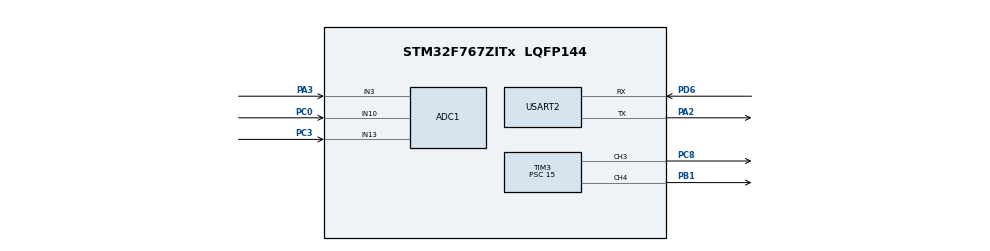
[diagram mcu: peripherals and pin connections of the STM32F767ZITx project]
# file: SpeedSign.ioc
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ADC1.Channel-0\#ChannelRegularConversion=ADC_CHANNEL_10
ADC1.Channel-1\#ChannelRegularConversion=ADC_CHANNEL_3
ADC1.Channel-2\#ChannelRegularConversion=ADC_CHANNEL_3
ADC1.ClockPrescaler=ADC_CLOCK_SYNC_PCLK_DIV8
ADC1.ContinuousConvMode=DISABLE
ADC1.DMAContinuousRequests=ENABLE
ADC1.DiscontinuousConvMode=ENABLE
ADC1.ExternalTrigConv=ADC_EXTERNALTRIGCONV_T8_TRGO
ADC1.NbrOfConversion=3
ADC1.NbrOfConversionFlag=1
ADC1.Rank-0\#ChannelRegularConversion=1
ADC1.Rank-1\#ChannelRegularConversion=2
ADC1.Rank-2\#ChannelRegularConversion=3
ADC1.SamplingTime-0\#ChannelRegularConversion=ADC_SAMPLETIME_3CYCLES
ADC1.SamplingTime-1\#ChannelRegularConversion=ADC_SAMPLETIME_3CYCLES
ADC1.SamplingTime-2\#ChannelRegularConversion=ADC_SAMPLETIME_3CYCLES
ADC1.ScanConvMode=ADC_SCAN_ENABLE
ADC1.master=1
CORTEX_M7.default_mode_Activation=1
Dma.ADC1.0.Direction=DMA_PERIPH_TO_MEMORY
Dma.ADC1.0.FIFOMode=DMA_FIFOMODE_DISABLE
Dma.ADC1.0.Instance=DMA2_Stream0
Dma.ADC1.0.MemDataAlignment=DMA_MDATAALIGN_HALFWORD
Dma.ADC1.0.MemInc=DMA_MINC_ENABLE
Dma.ADC1.0.Mode=DMA_CIRCULAR
Dma.ADC1.0.PeriphDataAlignment=DMA_PDATAALIGN_HALFWORD
Dma.ADC1.0.PeriphInc=DMA_PINC_DISABLE
Dma.ADC1.0.Priority=DMA_PRIORITY_LOW
Dma.Request0=ADC1
Mcu.Family=STM32F7
Mcu.Name=STM32F767ZITx
Mcu.Package=LQFP144
NVIC.DMA2_Stream0_IRQn=true\:0\:0\:false\:false\:true\:false\:true\:true
NVIC.PriorityGroup=NVIC_PRIORITYGROUP_4
NVIC.TIM3_IRQn=true\:0\:0\:false\:false\:true\:true\:true\:true
PA2.Mode=Asynchronous
PA2.Signal=USART2_TX
PA3.Signal=ADCx_IN3
PB1.Signal=S_TIM3_CH4
PC0.Signal=ADCx_IN10
PC3.Signal=ADCx_IN13
PC8.Signal=S_TIM3_CH3
PD6.Mode=Asynchronous
PD6.Signal=USART2_RX
ProjectManager.HeapSize=0x200
ProjectManager.StackSize=0x400
ProjectManager.TargetToolchain=STM32CubeIDE
RCC.HSE_VALUE=25000000
RCC.HSI_VALUE=16000000
RCC.LSE_VALUE=32768
RCC.USBFreq_Value=96000000
RCC.VCOOutputFreq_Value=192000000
SH.ADCx_IN10.0=ADC1_IN10,IN10
SH.ADCx_IN13.0=ADC1_IN13,IN13
SH.ADCx_IN3.0=ADC1_IN3,IN3
SH.S_TIM3_CH3.0=TIM3_CH3,PWM Generation3 CH3
SH.S_TIM3_CH4.0=TIM3_CH4,PWM Generation4 CH4
TIM3.AutoReloadPreload=TIM_AUTORELOAD_PRELOAD_ENABLE
TIM3.Channel-PWM\ Generation3\ CH3=TIM_CHANNEL_3
TIM3.Channel-PWM\ Generation4\ CH4=TIM_CHANNEL_4
TIM3.ClockDivision=TIM_CLOCKDIVISION_DIV1
TIM3.Period=19999
TIM3.Prescaler=15
TIM3.Pulse-PWM\ Generation3\ CH3=1400
TIM3.Pulse-PWM\ Generation4\ CH4=1400
TIM8.Period=15999
TIM8.TIM_MasterOutputTrigger=TIM_TRGO_UPDATE
USART2.VirtualMode-Asynchronous=VM_ASYNC
VP_TIM3_VS_ClockSourceINT.Mode=Internal
VP_TIM8_VS_ClockSourceINT.Mode=Internal
board=custom

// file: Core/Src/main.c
/* USER CODE BEGIN Header */
/**
  ******************************************************************************
  * @file           : main.c
  * @brief          : Main program body
  ******************************************************************************
  * @attention
  *
  * Copyright (c) 2024 STMicroelectronics.
  * All rights reserved.
  *
  * This software is licensed under terms that can be found in the LICENSE file
  * in the root directory of this software component.
  * If no LICENSE file comes with this software, it is provided AS-IS.
  *
  ******************************************************************************
  */
/* USER CODE END Header */
#include "main.h"

/* USER CODE BEGIN PD */
#define NUM_SENSORS 3
#define NUM_DISPLAYS 1
#define BASE_SPEED 9
/* USER CODE END PD */

ADC_HandleTypeDef hadc1;
DMA_HandleTypeDef hdma_adc1;

TIM_HandleTypeDef htim3;
TIM_HandleTypeDef htim8;

UART_HandleTypeDef huart2;

/* USER CODE BEGIN PV */
const uint32_t DISPLAY_STATES[10] = {1400, 1200, 1000, 800, 600, 2400, 2200, 2000, 1800, 1600};

volatile uint16_t sensorData[NUM_SENSORS];
uint32_t speedLimit = BASE_SPEED;

volatile uint8_t sensorDataReady = 0;
/* USER CODE END PV */

void SystemClock_Config(void);
static void MPU_Config(void);
static void MX_GPIO_Init(void);
static void MX_DMA_Init(void);
static void MX_ADC1_Init(void);
static void MX_USART2_UART_Init(void);
static void MX_TIM3_Init(void);
static void MX_TIM8_Init(void);
/* USER CODE BEGIN PFP */
void HAL_ADC_ConvCpltCallback(ADC_HandleTypeDef* hadc);
void HAL_TIM_PWM_PulseFinishedCallback(TIM_HandleTypeDef *htim);
/* USER CODE END PFP */

/* USER CODE BEGIN 0 */
void HAL_ADC_ConvCpltCallback(ADC_HandleTypeDef* hadc) {
	sensorDataReady = 1;
}

void HAL_TIM_PWM_PulseFinishedCallback(TIM_HandleTypeDef *htim) {
	uint32_t speedLimitCopy = speedLimit;
	if(htim->Channel == HAL_TIM_ACTIVE_CHANNEL_3) {
		TIM3->CCR3 = DISPLAY_STATES[speedLimitCopy % 10];
	}
	speedLimitCopy /= 10;
	if(htim->Channel == HAL_TIM_ACTIVE_CHANNEL_4) {
		TIM3->CCR4 = DISPLAY_STATES[speedLimitCopy % 10];
	}
}
/* USER CODE END 0 */

int main(void)
{

  /* MPU Configuration--------------------------------------------------------*/
  MPU_Config();

  /* MCU Configuration--------------------------------------------------------*/

  /* Reset of all peripherals, Initializes the Flash interface and the Systick. */
  HAL_Init();

  /* Configure the system clock */
  SystemClock_Config();

  /* Initialize all configured peripherals */
  MX_GPIO_Init();
  MX_DMA_Init();
  MX_ADC1_Init();
  MX_USART2_UART_Init();
  MX_TIM3_Init();
  MX_TIM8_Init();
  /* USER CODE BEGIN 2 */

  //start timer1

  HAL_TIM_PWM_Start_IT(&htim3, TIM_CHANNEL_3);
  HAL_TIM_PWM_Start_IT(&htim3, TIM_CHANNEL_4);

  HAL_TIM_Base_Start(&htim8);

  HAL_ADC_Start_DMA(&hadc1, (uint32_t*)sensorData, NUM_SENSORS);
  /* USER CODE END 2 */

  /* Infinite loop */
  while (1)
  {

    /* USER CODE BEGIN 3 */
	if(sensorDataReady) {
		uint32_t sum = 0;
		for(uint32_t i = 0; i < NUM_SENSORS; ++i)
			sum += sensorData[i];
		speedLimit = BASE_SPEED - ((float)sum / 1000.0);
		sensorDataReady = 0;
	}
  }
  /* USER CODE END 3 */
}

void SystemClock_Config(void)
{
  RCC_OscInitTypeDef RCC_OscInitStruct = {0};
  RCC_ClkInitTypeDef RCC_ClkInitStruct = {0};

  /** Configure the main internal regulator output voltage
  */
  __HAL_RCC_PWR_CLK_ENABLE();
  __HAL_PWR_VOLTAGESCALING_CONFIG(PWR_REGULATOR_VOLTAGE_SCALE3);

  /** Initializes the RCC Oscillators according to the specified parameters
  * in the RCC_OscInitTypeDef structure.
  */
  RCC_OscInitStruct.OscillatorType = RCC_OSCILLATORTYPE_HSI;
  RCC_OscInitStruct.HSIState = RCC_HSI_ON;
  RCC_OscInitStruct.HSICalibrationValue = RCC_HSICALIBRATION_DEFAULT;
  RCC_OscInitStruct.PLL.PLLState = RCC_PLL_NONE;
  if (HAL_RCC_OscConfig(&RCC_OscInitStruct) != HAL_OK)
  {
    Error_Handler();
  }

  /** Initializes the CPU, AHB and APB buses clocks
  */
  RCC_ClkInitStruct.ClockType = RCC_CLOCKTYPE_HCLK|RCC_CLOCKTYPE_SYSCLK
                              |RCC_CLOCKTYPE_PCLK1|RCC_CLOCKTYPE_PCLK2;
  RCC_ClkInitStruct.SYSCLKSource = RCC_SYSCLKSOURCE_HSI;
  RCC_ClkInitStruct.AHBCLKDivider = RCC_SYSCLK_DIV1;
  RCC_ClkInitStruct.APB1CLKDivider = RCC_HCLK_DIV1;
  RCC_ClkInitStruct.APB2CLKDivider = RCC_HCLK_DIV1;

  if (HAL_RCC_ClockConfig(&RCC_ClkInitStruct, FLASH_LATENCY_0) != HAL_OK)
  {
    Error_Handler();
  }
}

static void MX_ADC1_Init(void)
{

  ADC_ChannelConfTypeDef sConfig = {0};

  /** Configure the global features of the ADC (Clock, Resolution, Data Alignment and number of conversion)
  */
  hadc1.Instance = ADC1;
  hadc1.Init.ClockPrescaler = ADC_CLOCK_SYNC_PCLK_DIV8;
  hadc1.Init.Resolution = ADC_RESOLUTION_12B;
  hadc1.Init.ScanConvMode = ADC_SCAN_ENABLE;
  hadc1.Init.ContinuousConvMode = DISABLE;
  hadc1.Init.DiscontinuousConvMode = ENABLE;
  hadc1.Init.NbrOfDiscConversion = 1;
  hadc1.Init.ExternalTrigConvEdge = ADC_EXTERNALTRIGCONVEDGE_RISING;
  hadc1.Init.ExternalTrigConv = ADC_EXTERNALTRIGCONV_T8_TRGO;
  hadc1.Init.DataAlign = ADC_DATAALIGN_RIGHT;
  hadc1.Init.NbrOfConversion = 3;
  hadc1.Init.DMAContinuousRequests = ENABLE;
  hadc1.Init.EOCSelection = ADC_EOC_SINGLE_CONV;
  if (HAL_ADC_Init(&hadc1) != HAL_OK)
  {
    Error_Handler();
  }

  /** Configure for the selected ADC regular channel its corresponding rank in the sequencer and its sample time.
  */
  sConfig.Channel = ADC_CHANNEL_10;
  sConfig.Rank = ADC_REGULAR_RANK_1;
  sConfig.SamplingTime = ADC_SAMPLETIME_3CYCLES;
  if (HAL_ADC_ConfigChannel(&hadc1, &sConfig) != HAL_OK)
  {
    Error_Handler();
  }

  /** Configure for the selected ADC regular channel its corresponding rank in the sequencer and its sample time.
  */
  sConfig.Channel = ADC_CHANNEL_3;
  sConfig.Rank = ADC_REGULAR_RANK_2;
  if (HAL_ADC_ConfigChannel(&hadc1, &sConfig) != HAL_OK)
  {
    Error_Handler();
  }

  /** Configure for the selected ADC regular channel its corresponding rank in the sequencer and its sample time.
  */
  sConfig.Rank = ADC_REGULAR_RANK_3;
  if (HAL_ADC_ConfigChannel(&hadc1, &sConfig) != HAL_OK)
  {
    Error_Handler();
  }

}

static void MX_TIM3_Init(void)
{

  TIM_ClockConfigTypeDef sClockSourceConfig = {0};
  TIM_MasterConfigTypeDef sMasterConfig = {0};
  TIM_OC_InitTypeDef sConfigOC = {0};

  htim3.Instance = TIM3;
  htim3.Init.Prescaler = 15;
  htim3.Init.CounterMode = TIM_COUNTERMODE_UP;
  htim3.Init.Period = 19999;
  htim3.Init.ClockDivision = TIM_CLOCKDIVISION_DIV1;
  htim3.Init.AutoReloadPreload = TIM_AUTORELOAD_PRELOAD_ENABLE;
  if (HAL_TIM_Base_Init(&htim3) != HAL_OK)
  {
    Error_Handler();
  }
  sClockSourceConfig.ClockSource = TIM_CLOCKSOURCE_INTERNAL;
  if (HAL_TIM_ConfigClockSource(&htim3, &sClockSourceConfig) != HAL_OK)
  {
    Error_Handler();
  }
  if (HAL_TIM_PWM_Init(&htim3) != HAL_OK)
  {
    Error_Handler();
  }
  sMasterConfig.MasterOutputTrigger = TIM_TRGO_RESET;
  sMasterConfig.MasterSlaveMode = TIM_MASTERSLAVEMODE_DISABLE;
  if (HAL_TIMEx_MasterConfigSynchronization(&htim3, &sMasterConfig) != HAL_OK)
  {
    Error_Handler();
  }
  sConfigOC.OCMode = TIM_OCMODE_PWM1;
  sConfigOC.Pulse = 1400;
  sConfigOC.OCPolarity = TIM_OCPOLARITY_HIGH;
  sConfigOC.OCFastMode = TIM_OCFAST_DISABLE;
  if (HAL_TIM_PWM_ConfigChannel(&htim3, &sConfigOC, TIM_CHANNEL_3) != HAL_OK)
  {
    Error_Handler();
  }
  if (HAL_TIM_PWM_ConfigChannel(&htim3, &sConfigOC, TIM_CHANNEL_4) != HAL_OK)
  {
    Error_Handler();
  }
  HAL_TIM_MspPostInit(&htim3);

}

static void MX_TIM8_Init(void)
{

  TIM_ClockConfigTypeDef sClockSourceConfig = {0};
  TIM_MasterConfigTypeDef sMasterConfig = {0};

  htim8.Instance = TIM8;
  htim8.Init.Prescaler = 0;
  htim8.Init.CounterMode = TIM_COUNTERMODE_UP;
  htim8.Init.Period = 15999;
  htim8.Init.ClockDivision = TIM_CLOCKDIVISION_DIV1;
  htim8.Init.RepetitionCounter = 0;
  htim8.Init.AutoReloadPreload = TIM_AUTORELOAD_PRELOAD_DISABLE;
  if (HAL_TIM_Base_Init(&htim8) != HAL_OK)
  {
    Error_Handler();
  }
  sClockSourceConfig.ClockSource = TIM_CLOCKSOURCE_INTERNAL;
  if (HAL_TIM_ConfigClockSource(&htim8, &sClockSourceConfig) != HAL_OK)
  {
    Error_Handler();
  }
  sMasterConfig.MasterOutputTrigger = TIM_TRGO_UPDATE;
  sMasterConfig.MasterOutputTrigger2 = TIM_TRGO2_RESET;
  sMasterConfig.MasterSlaveMode = TIM_MASTERSLAVEMODE_DISABLE;
  if (HAL_TIMEx_MasterConfigSynchronization(&htim8, &sMasterConfig) != HAL_OK)
  {
    Error_Handler();
  }

}

static void MX_USART2_UART_Init(void)
{

  huart2.Instance = USART2;
  huart2.Init.BaudRate = 115200;
  huart2.Init.WordLength = UART_WORDLENGTH_8B;
  huart2.Init.StopBits = UART_STOPBITS_1;
  huart2.Init.Parity = UART_PARITY_NONE;
  huart2.Init.Mode = UART_MODE_TX_RX;
  huart2.Init.HwFlowCtl = UART_HWCONTROL_NONE;
  huart2.Init.OverSampling = UART_OVERSAMPLING_16;
  huart2.Init.OneBitSampling = UART_ONE_BIT_SAMPLE_DISABLE;
  huart2.AdvancedInit.AdvFeatureInit = UART_ADVFEATURE_NO_INIT;
  if (HAL_UART_Init(&huart2) != HAL_OK)
  {
    Error_Handler();
  }

}

static void MX_DMA_Init(void)
{

  /* DMA controller clock enable */
  __HAL_RCC_DMA2_CLK_ENABLE();

  /* DMA interrupt init */
  /* DMA2_Stream0_IRQn interrupt configuration */
  HAL_NVIC_SetPriority(DMA2_Stream0_IRQn, 0, 0);
  HAL_NVIC_EnableIRQ(DMA2_Stream0_IRQn);

}

static void MX_GPIO_Init(void)
{

  /* GPIO Ports Clock Enable */
  __HAL_RCC_GPIOC_CLK_ENABLE();
  __HAL_RCC_GPIOA_CLK_ENABLE();
  __HAL_RCC_GPIOB_CLK_ENABLE();
  __HAL_RCC_GPIOD_CLK_ENABLE();

}

 /* MPU Configuration */

void MPU_Config(void)
{
  MPU_Region_InitTypeDef MPU_InitStruct = {0};

  /* Disables the MPU */
  HAL_MPU_Disable();

  /** Initializes and configures the Region and the memory to be protected
  */
  MPU_InitStruct.Enable = MPU_REGION_ENABLE;
  MPU_InitStruct.Number = MPU_REGION_NUMBER0;
  MPU_InitStruct.BaseAddress = 0x0;
  MPU_InitStruct.Size = MPU_REGION_SIZE_4GB;
  MPU_InitStruct.SubRegionDisable = 0x87;
  MPU_InitStruct.TypeExtField = MPU_TEX_LEVEL0;
  MPU_InitStruct.AccessPermission = MPU_REGION_NO_ACCESS;
  MPU_InitStruct.DisableExec = MPU_INSTRUCTION_ACCESS_DISABLE;
  MPU_InitStruct.IsShareable = MPU_ACCESS_SHAREABLE;
  MPU_InitStruct.IsCacheable = MPU_ACCESS_NOT_CACHEABLE;
  MPU_InitStruct.IsBufferable = MPU_ACCESS_NOT_BUFFERABLE;

  HAL_MPU_ConfigRegion(&MPU_InitStruct);
  /* Enables the MPU */
  HAL_MPU_Enable(MPU_PRIVILEGED_DEFAULT);

}

void Error_Handler(void)
{
  __disable_irq();
  while (1)
  {
  }
}
